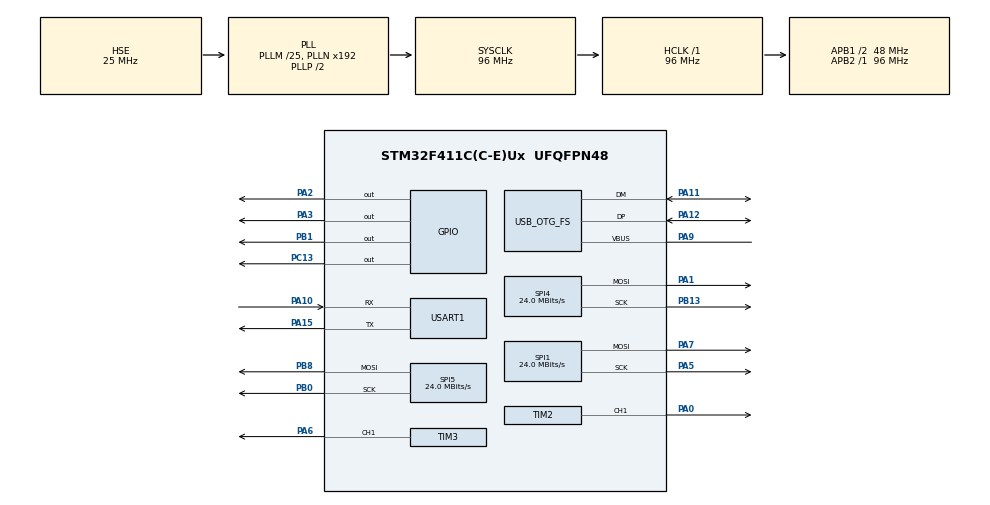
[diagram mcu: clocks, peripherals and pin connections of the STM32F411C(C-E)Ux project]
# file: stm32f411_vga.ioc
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Dma.Request0=TIM1_CH1
Dma.Request1=TIM1_CH2
Dma.Request2=TIM1_CH3
Dma.TIM1_CH1.0.Direction=DMA_MEMORY_TO_PERIPH
Dma.TIM1_CH1.0.FIFOMode=DMA_FIFOMODE_ENABLE
Dma.TIM1_CH1.0.FIFOThreshold=DMA_FIFO_THRESHOLD_FULL
Dma.TIM1_CH1.0.Instance=DMA2_Stream1
Dma.TIM1_CH1.0.MemBurst=DMA_MBURST_INC4
Dma.TIM1_CH1.0.MemDataAlignment=DMA_MDATAALIGN_WORD
Dma.TIM1_CH1.0.MemInc=DMA_MINC_ENABLE
Dma.TIM1_CH1.0.Mode=DMA_NORMAL
Dma.TIM1_CH1.0.PeriphBurst=DMA_PBURST_SINGLE
Dma.TIM1_CH1.0.PeriphDataAlignment=DMA_PDATAALIGN_BYTE
Dma.TIM1_CH1.0.PeriphInc=DMA_PINC_DISABLE
Dma.TIM1_CH1.0.Priority=DMA_PRIORITY_VERY_HIGH
Dma.TIM1_CH2.1.Direction=DMA_MEMORY_TO_PERIPH
Dma.TIM1_CH2.1.FIFOMode=DMA_FIFOMODE_ENABLE
Dma.TIM1_CH2.1.FIFOThreshold=DMA_FIFO_THRESHOLD_FULL
Dma.TIM1_CH2.1.Instance=DMA2_Stream2
Dma.TIM1_CH2.1.MemBurst=DMA_MBURST_INC4
Dma.TIM1_CH2.1.MemDataAlignment=DMA_MDATAALIGN_WORD
Dma.TIM1_CH2.1.MemInc=DMA_MINC_ENABLE
Dma.TIM1_CH2.1.Mode=DMA_NORMAL
Dma.TIM1_CH2.1.PeriphBurst=DMA_PBURST_SINGLE
Dma.TIM1_CH2.1.PeriphDataAlignment=DMA_PDATAALIGN_BYTE
Dma.TIM1_CH2.1.PeriphInc=DMA_PINC_DISABLE
Dma.TIM1_CH2.1.Priority=DMA_PRIORITY_VERY_HIGH
Dma.TIM1_CH3.2.Direction=DMA_MEMORY_TO_PERIPH
Dma.TIM1_CH3.2.FIFOMode=DMA_FIFOMODE_ENABLE
Dma.TIM1_CH3.2.FIFOThreshold=DMA_FIFO_THRESHOLD_FULL
Dma.TIM1_CH3.2.Instance=DMA2_Stream6
Dma.TIM1_CH3.2.MemBurst=DMA_MBURST_INC4
Dma.TIM1_CH3.2.MemDataAlignment=DMA_MDATAALIGN_WORD
Dma.TIM1_CH3.2.MemInc=DMA_MINC_ENABLE
Dma.TIM1_CH3.2.Mode=DMA_NORMAL
Dma.TIM1_CH3.2.PeriphBurst=DMA_PBURST_SINGLE
Dma.TIM1_CH3.2.PeriphDataAlignment=DMA_PDATAALIGN_BYTE
Dma.TIM1_CH3.2.PeriphInc=DMA_PINC_DISABLE
Dma.TIM1_CH3.2.Priority=DMA_PRIORITY_VERY_HIGH
Mcu.Family=STM32F4
Mcu.Name=STM32F411C(C-E)Ux
Mcu.Package=UFQFPN48
NVIC.DMA2_Stream1_IRQn=true\:0\:0\:false\:false\:true\:false\:true\:true
NVIC.DMA2_Stream2_IRQn=true\:0\:0\:false\:false\:true\:false\:true\:true
NVIC.DMA2_Stream6_IRQn=true\:0\:0\:false\:false\:true\:false\:true\:true
NVIC.OTG_FS_IRQn=true\:1\:0\:true\:false\:true\:true\:true\:true
NVIC.PriorityGroup=NVIC_PRIORITYGROUP_4
NVIC.TIM2_IRQn=true\:0\:0\:true\:false\:true\:true\:true\:true
NVIC.TIM3_IRQn=true\:0\:0\:true\:false\:true\:true\:true\:true
NVIC.USART1_IRQn=true\:2\:0\:true\:false\:true\:true\:true\:true
PA0-WKUP.GPIO_Speed=GPIO_SPEED_FREQ_VERY_HIGH
PA0-WKUP.Signal=S_TIM2_CH1_ETR
PA1.GPIO_Mode=GPIO_MODE_AF_PP
PA1.GPIO_PuPd=GPIO_NOPULL
PA1.GPIO_Speed=GPIO_SPEED_FREQ_VERY_HIGH
PA1.Mode=TX_Only_Simplex_Unidirect_Master
PA1.Signal=SPI4_MOSI
PA10.Mode=Asynchronous
PA10.Signal=USART1_RX
PA11.Mode=Host_Only
PA11.Signal=USB_OTG_FS_DM
PA12.Mode=Host_Only
PA12.Signal=USB_OTG_FS_DP
PA15.Mode=Asynchronous
PA15.Signal=USART1_TX
PA2.GPIO_ModeDefaultOutputPP=GPIO_MODE_OUTPUT_PP
PA2.GPIO_PuPd=GPIO_NOPULL
PA2.PinState=GPIO_PIN_RESET
PA2.Signal=GPIO_Output
PA3.Signal=GPIO_Output
PA5.GPIO_Mode=GPIO_MODE_AF_PP
PA5.GPIO_PuPd=GPIO_NOPULL
PA5.GPIO_Speed=GPIO_SPEED_FREQ_VERY_HIGH
PA5.Mode=TX_Only_Simplex_Unidirect_Master
PA5.Signal=SPI1_SCK
PA6.GPIO_Speed=GPIO_SPEED_FREQ_VERY_HIGH
PA6.Signal=S_TIM3_CH1
PA7.GPIO_Mode=GPIO_MODE_AF_PP
PA7.GPIO_PuPd=GPIO_NOPULL
PA7.GPIO_Speed=GPIO_SPEED_FREQ_VERY_HIGH
PA7.Mode=TX_Only_Simplex_Unidirect_Master
PA7.Signal=SPI1_MOSI
PA9.Mode=Activate_VBUS
PA9.Signal=USB_OTG_FS_VBUS
PB0.GPIO_Mode=GPIO_MODE_AF_PP
PB0.GPIO_PuPd=GPIO_NOPULL
PB0.GPIO_Speed=GPIO_SPEED_FREQ_VERY_HIGH
PB0.Mode=TX_Only_Simplex_Unidirect_Master
PB0.Signal=SPI5_SCK
PB1.GPIO_ModeDefaultOutputPP=GPIO_MODE_OUTPUT_PP
PB1.GPIO_PuPd=GPIO_NOPULL
PB1.PinState=GPIO_PIN_RESET
PB1.Signal=GPIO_Output
PB13.GPIO_Mode=GPIO_MODE_AF_PP
PB13.GPIO_PuPd=GPIO_NOPULL
PB13.GPIO_Speed=GPIO_SPEED_FREQ_VERY_HIGH
PB13.Mode=TX_Only_Simplex_Unidirect_Master
PB13.Signal=SPI4_SCK
PB8.GPIO_Mode=GPIO_MODE_AF_PP
PB8.GPIO_PuPd=GPIO_NOPULL
PB8.GPIO_Speed=GPIO_SPEED_FREQ_VERY_HIGH
PB8.Mode=TX_Only_Simplex_Unidirect_Master
PB8.Signal=SPI5_MOSI
PC13-ANTI_TAMP.GPIO_ModeDefaultOutputPP=GPIO_MODE_OUTPUT_PP
PC13-ANTI_TAMP.GPIO_PuPd=GPIO_NOPULL
PC13-ANTI_TAMP.PinState=GPIO_PIN_RESET
PC13-ANTI_TAMP.Signal=GPIO_Output
PH0\ -\ OSC_IN.Mode=HSE-External-Oscillator
PH0\ -\ OSC_IN.Signal=RCC_OSC_IN
PH1\ -\ OSC_OUT.Mode=HSE-External-Oscillator
PH1\ -\ OSC_OUT.Signal=RCC_OSC_OUT
ProjectManager.HeapSize=0x200
ProjectManager.StackSize=0x400
ProjectManager.TargetToolchain=STM32CubeIDE
RCC.48MHZClocksFreq_Value=48000000
RCC.AHBFreq_Value=96000000
RCC.APB1CLKDivider=RCC_HCLK_DIV2
RCC.APB1Freq_Value=48000000
RCC.APB1TimFreq_Value=96000000
RCC.APB2Freq_Value=96000000
RCC.APB2TimFreq_Value=96000000
RCC.CortexFreq_Value=96000000
RCC.HCLKFreq_Value=96000000
RCC.HSE_VALUE=25000000
RCC.HSI_VALUE=16000000
RCC.LSE_VALUE=32768
RCC.PLLM=25
RCC.SYSCLKFreq_VALUE=96000000
RCC.SYSCLKSource=RCC_SYSCLKSOURCE_PLLCLK
RCC.VCOOutputFreq_Value=192000000
SH.S_TIM2_CH1_ETR.0=TIM2_CH1,PWM Generation1 CH1
SH.S_TIM3_CH1.0=TIM3_CH1,PWM Generation1 CH1
SPI1.BaudRatePrescaler=SPI_BAUDRATEPRESCALER_4
SPI1.CalculateBaudRate=24.0 MBits/s
SPI1.Direction=SPI_DIRECTION_2LINES
SPI1.Mode=SPI_MODE_MASTER
SPI1.VirtualType=VM_MASTER
SPI4.BaudRatePrescaler=SPI_BAUDRATEPRESCALER_4
SPI4.CalculateBaudRate=24.0 MBits/s
SPI4.Direction=SPI_DIRECTION_2LINES
SPI4.Mode=SPI_MODE_MASTER
SPI4.VirtualType=VM_MASTER
SPI5.BaudRatePrescaler=SPI_BAUDRATEPRESCALER_4
SPI5.CalculateBaudRate=24.0 MBits/s
SPI5.Direction=SPI_DIRECTION_2LINES
SPI5.Mode=SPI_MODE_MASTER
SPI5.VirtualType=VM_MASTER
TIM1.Channel-PWM\ Generation1\ No\ Output=TIM_CHANNEL_1
TIM1.Channel-PWM\ Generation2\ No\ Output=TIM_CHANNEL_2
TIM1.Channel-PWM\ Generation3\ No\ Output=TIM_CHANNEL_3
TIM1.CounterMode=TIM_COUNTERMODE_UP
TIM1.OCPolarity_1=TIM_OCPOLARITY_LOW
TIM1.OCPolarity_2=TIM_OCPOLARITY_LOW
TIM1.OCPolarity_3=TIM_OCPOLARITY_LOW
TIM1.Period=31
TIM1.Prescaler=0
TIM1.TIM_MasterOutputTrigger=TIM_TRGO_UPDATE
TIM2.Channel-PWM\ Generation1\ CH1=TIM_CHANNEL_1
TIM2.CounterMode=TIM_COUNTERMODE_DOWN
TIM2.OCPolarity_1=TIM_OCPOLARITY_HIGH
TIM2.Period=2752
TIM2.Prescaler=0
TIM2.Pulse-PWM\ Generation1\ CH1=2598
TIM2.TIM_MasterOutputTrigger=TIM_TRGO_OC1REF
TIM2.TIM_MasterSlaveMode=TIM_MASTERSLAVEMODE_DISABLE
TIM3.Channel-PWM\ Generation1\ CH1=TIM_CHANNEL_1
TIM3.Period=3178
TIM3.Pulse-PWM\ Generation1\ CH1=2798
TIM3.TIM_MasterOutputTrigger=TIM_TRGO_UPDATE
USART1.VirtualMode=VM_ASYNC
USB_HOST.BSP.number=1
USB_HOST.USBH_HandleTypeDef=hUsbHostFS
USB_HOST.VirtualModeFS=Hid
USB_HOST0.BSP.STBoard=false
USB_HOST0.BSP.api=Unknown
USB_HOST0.BSP.condition=SW_VBUS_DRIVE_HID_FS \= false
USB_HOST0.BSP.instance=PA3
USB_HOST0.BSP.ip=GPIO
USB_HOST0.BSP.mode=Output
USB_HOST0.BSP.name=Drive_VBUS_FS
USB_HOST0.BSP.solution=PA3
USB_OTG_FS.VirtualMode=Host_Only
USB_OTG_FS.phy_itface=HCD_PHY_EMBEDDED
USB_OTG_FS.speed=HCD_SPEED_LOW
VP_TIM1_VS_ClockSourceINT.Mode=Internal
VP_TIM1_VS_ClockSourceITR.Mode=TriggerSource_ITR1
VP_TIM1_VS_ControllerModeGated.Mode=Gated Mode
VP_TIM1_VS_no_output1.Mode=PWM Generation1 No Output
VP_TIM1_VS_no_output2.Mode=PWM Generation2 No Output
VP_TIM1_VS_no_output3.Mode=PWM Generation3 No Output
VP_TIM2_VS_ClockSourceINT.Mode=Internal
VP_TIM2_VS_ClockSourceITR.Mode=TriggerSource_ITR2
VP_TIM2_VS_ControllerModeTrigger.Mode=Trigger Mode
VP_TIM2_VS_OPM.Mode=OPM_bit
VP_TIM3_VS_ClockSourceINT.Mode=Internal
VP_USB_HOST_VS_USB_HOST_HID_FS.Mode=HID_FS
board=custom

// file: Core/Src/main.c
/* USER CODE BEGIN Header */
/**
  ******************************************************************************
  * @file           : main.c
  * @brief          : Main program body
  ******************************************************************************
  * @attention
  *
  * Copyright (c) 2026 STMicroelectronics.
  * All rights reserved.
  *
  * This software is licensed under terms that can be found in the LICENSE file
  * in the root directory of this software component.
  * If no LICENSE file comes with this software, it is provided AS-IS.
  *
  ******************************************************************************
  */
/* USER CODE END Header */
#include "main.h"
#include "usb_host.h"

/* USER CODE BEGIN Includes */
#include <stdio.h>
#include <string.h>
#include "usbh_hid.h"
#include "usbh_hid_keybd.h"
#include "usbh_core.h"
#include "usbh_hid_keybd.h"
/* USER CODE END Includes */

SPI_HandleTypeDef hspi1;
SPI_HandleTypeDef hspi4;
SPI_HandleTypeDef hspi5;

TIM_HandleTypeDef htim1;
TIM_HandleTypeDef htim2;
TIM_HandleTypeDef htim3;
DMA_HandleTypeDef hdma_tim1_ch1;
DMA_HandleTypeDef hdma_tim1_ch2;
DMA_HandleTypeDef hdma_tim1_ch3;

UART_HandleTypeDef huart1;

void SystemClock_Config(void);
static void MX_GPIO_Init(void);
static void MX_DMA_Init(void);
static void MX_SPI1_Init(void);
static void MX_TIM1_Init(void);
static void MX_TIM2_Init(void);
static void MX_SPI4_Init(void);
static void MX_SPI5_Init(void);
static void MX_TIM3_Init(void);
static void MX_USART1_UART_Init(void);
void MX_USB_HOST_Process(void);

/* USER CODE BEGIN 0 */
extern USBH_HandleTypeDef hUsbHostFS;
extern void MX_USB_HOST_Process(void);
extern void basic();
extern void put_ch();
extern void clr_vram();
extern void test_vga();
extern void putch();
extern void DrawChar();
extern void DrawStr();
extern void DrawLine();
extern void DrawRect();
extern void FillRect();
extern void DrawCircle();
extern void FillCircle();
extern void FillCircle();
//char usb_key;

int wct = 0;
void wloop(int dly){
	HAL_Delay(dly);
    MX_USB_HOST_Process();
	if(wct++>(200/dly)){
		wct=0;
		HAL_GPIO_TogglePin(GPIOC, GPIO_PIN_13); // PC13(LED)への出力を反転
	}
}
// USB HID Usage Tables(basicの為に少し弄ってる)
const uint8_t hid_to_ascii_us[] = {
    0, 0, 0, 0, 'a', 'b', 'c', 'd', 'e', 'f', 'g', 'h', 'i', 'j', 'k', 'l',
    'm', 'n', 'o', 'p', 'q', 'r', 's', 't', 'u', 'v', 'w', 'x', 'y', 'z',
    '1', '2', '3', '4', '5', '6', '7', '8', '9', '0', '\r', 0x1B, '\b', '\t',
    ' ', '-', '^', '[', ']', '\\', 0, ';', ':', '`', ',', '.', '/'
};
// シフトが押された場合のテーブル
const uint8_t hid_to_ascii_us_shift[] = {
    0, 0, 0, 0, 'A', 'B', 'C', 'D', 'E', 'F', 'G', 'H', 'I', 'J', 'K', 'L',
    'M', 'N', 'O', 'P', 'Q', 'R', 'S', 'T', 'U', 'V', 'W', 'X', 'Y', 'Z',
    '!', '"', '#', '$', '%', '&', '\'', '(', ')', ')', '\r', 0x1B, '\b', '\t',
    ' ', '=', '~', '{', '}', '|', 0, '+', '"', '~', '<', '>', '?'
};

char HID_To_ASCII(uint8_t scancode, uint8_t shift) {
    if (scancode >= sizeof(hid_to_ascii_us)) return 0; // 範囲外
    if (shift) { return hid_to_ascii_us_shift[scancode];}
    else       { return hid_to_ascii_us[scancode]; }
}

// キーボードのレポート構造体（定義されていない場合）
typedef struct _HID_KEYBD_Info{
  uint8_t modifier;
  uint8_t reserved;
  uint8_t keys[6];
} HID_KEYBD_Info_Typedef;
extern USBH_HandleTypeDef hUsbHostFS;
// HID コールバック関数
void USBH_HID_EventCallback(USBH_HandleTypeDef *phost){
    //HID_HandleTypeDef *HID_Handle = (HID_HandleTypeDef *) phost->pActiveClass->pData;
    HID_KEYBD_Info_TypeDef *kbd_info;
    // デバイスがキーボードか確認
    if (USBH_HID_GetDeviceType(phost) == HID_KEYBOARD) {
        kbd_info = USBH_HID_GetKeybdInfo(phost);	// データをキーボード構造体にキャスト
        if (kbd_info != NULL) {
            // キーボードのキー押下データ(kbd_info->keys[0...5])を利用
        	uint8_t key = kbd_info->keys[0]; // 押されたキー
        	uint8_t shift = kbd_info->lshift || kbd_info->rshift;
        	uint8_t ctrl = kbd_info->lctrl || kbd_info->rctrl;
        	uint8_t asch = HID_To_ASCII(key, shift);
        	if(ctrl==1) asch = asch & 0x1f;
        	put_ch(asch);
        }
    }
}

void put_serial(char ch){
	uint8_t txdt;
	txdt = ch;
	HAL_UART_Transmit(&huart1, &txdt, 1, 10);
}
uint8_t rx_data;
void HAL_UART_RxCpltCallback(UART_HandleTypeDef *huart)
{
    if (huart->Instance == USART1) {
    	put_ch(rx_data);
        //HAL_UART_Transmit(&huart1, &rx_data, 1, 10);	// 1バイト送信（エコーバック）
        HAL_UART_Receive_IT(&huart1, &rx_data, 1);		// 次の1バイト受信のために再度割り込みを有効にする
    }
}
/* USER CODE END 0 */

int main(void)
{

  /* MCU Configuration--------------------------------------------------------*/

  /* Reset of all peripherals, Initializes the Flash interface and the Systick. */
  HAL_Init();

  /* Configure the system clock */
  SystemClock_Config();

  /* Initialize all configured peripherals */
  MX_GPIO_Init();
  MX_DMA_Init();
  MX_SPI1_Init();
  MX_TIM1_Init();
  MX_TIM2_Init();
  MX_SPI4_Init();
  MX_SPI5_Init();
  MX_TIM3_Init();
  MX_USB_HOST_Init();
  MX_USART1_UART_Init();

  /* Infinite loop */
  /* USER CODE BEGIN WHILE */

  // SPIを有効化
  __HAL_SPI_ENABLE(&hspi1);	// (PA7)
  __HAL_SPI_ENABLE(&hspi4);	// (PA1)
  __HAL_SPI_ENABLE(&hspi5);	// (PB8)
  // タイマースタート
  HAL_TIM_PWM_Start(&htim1, TIM_CHANNEL_1);		// (PA8)
  HAL_TIM_PWM_Start(&htim1, TIM_CHANNEL_2);		// (PA9)
  HAL_TIM_PWM_Start(&htim1, TIM_CHANNEL_3);		// (PA10)
  HAL_TIM_PWM_Start(&htim2, TIM_CHANNEL_1);		// T1Gate(PA0)
  HAL_TIM_PWM_Start_IT(&htim2, TIM_CHANNEL_2);	// (PB3)
  HAL_TIM_PWM_Start(&htim3, TIM_CHANNEL_1);		// Hsync(PA6)
  // Hsyncより作成									// Vsync(PB1)

  // シリアル初期化(１バイト受信で割り込み発生) TX:(PA15) RX:(PA10)
  HAL_UART_Receive_IT(&huart1, &rx_data, 1);

  clr_vram();
  test_vga();	// 不用なら消す

  while (1)
  {
	  //basic();			// basicを呼びだす、wloopは不用
	  wloop(1);		// 1ms待ち、LED PC13を点滅
    /* USER CODE END WHILE */
    MX_USB_HOST_Process();

  }
}

void SystemClock_Config(void)
{
  RCC_OscInitTypeDef RCC_OscInitStruct = {0};
  RCC_ClkInitTypeDef RCC_ClkInitStruct = {0};

  /** Configure the main internal regulator output voltage
  */
  __HAL_RCC_PWR_CLK_ENABLE();
  __HAL_PWR_VOLTAGESCALING_CONFIG(PWR_REGULATOR_VOLTAGE_SCALE1);

  /** Initializes the RCC Oscillators according to the specified parameters
  * in the RCC_OscInitTypeDef structure.
  */
  RCC_OscInitStruct.OscillatorType = RCC_OSCILLATORTYPE_HSE;
  RCC_OscInitStruct.HSEState = RCC_HSE_ON;
  RCC_OscInitStruct.PLL.PLLState = RCC_PLL_ON;
  RCC_OscInitStruct.PLL.PLLSource = RCC_PLLSOURCE_HSE;
  RCC_OscInitStruct.PLL.PLLM = 25;
  RCC_OscInitStruct.PLL.PLLN = 192;
  RCC_OscInitStruct.PLL.PLLP = RCC_PLLP_DIV2;
  RCC_OscInitStruct.PLL.PLLQ = 4;
  if (HAL_RCC_OscConfig(&RCC_OscInitStruct) != HAL_OK)
  {
    Error_Handler();
  }

  /** Initializes the CPU, AHB and APB buses clocks
  */
  RCC_ClkInitStruct.ClockType = RCC_CLOCKTYPE_HCLK|RCC_CLOCKTYPE_SYSCLK
                              |RCC_CLOCKTYPE_PCLK1|RCC_CLOCKTYPE_PCLK2;
  RCC_ClkInitStruct.SYSCLKSource = RCC_SYSCLKSOURCE_PLLCLK;
  RCC_ClkInitStruct.AHBCLKDivider = RCC_SYSCLK_DIV1;
  RCC_ClkInitStruct.APB1CLKDivider = RCC_HCLK_DIV2;
  RCC_ClkInitStruct.APB2CLKDivider = RCC_HCLK_DIV1;

  if (HAL_RCC_ClockConfig(&RCC_ClkInitStruct, FLASH_LATENCY_3) != HAL_OK)
  {
    Error_Handler();
  }
}

static void MX_SPI1_Init(void)
{

  /* SPI1 parameter configuration*/
  hspi1.Instance = SPI1;
  hspi1.Init.Mode = SPI_MODE_MASTER;
  hspi1.Init.Direction = SPI_DIRECTION_2LINES;
  hspi1.Init.DataSize = SPI_DATASIZE_8BIT;
  hspi1.Init.CLKPolarity = SPI_POLARITY_LOW;
  hspi1.Init.CLKPhase = SPI_PHASE_1EDGE;
  hspi1.Init.NSS = SPI_NSS_SOFT;
  hspi1.Init.BaudRatePrescaler = SPI_BAUDRATEPRESCALER_4;
  hspi1.Init.FirstBit = SPI_FIRSTBIT_MSB;
  hspi1.Init.TIMode = SPI_TIMODE_DISABLE;
  hspi1.Init.CRCCalculation = SPI_CRCCALCULATION_DISABLE;
  hspi1.Init.CRCPolynomial = 10;
  if (HAL_SPI_Init(&hspi1) != HAL_OK)
  {
    Error_Handler();
  }

}

static void MX_SPI4_Init(void)
{

  /* SPI4 parameter configuration*/
  hspi4.Instance = SPI4;
  hspi4.Init.Mode = SPI_MODE_MASTER;
  hspi4.Init.Direction = SPI_DIRECTION_2LINES;
  hspi4.Init.DataSize = SPI_DATASIZE_8BIT;
  hspi4.Init.CLKPolarity = SPI_POLARITY_LOW;
  hspi4.Init.CLKPhase = SPI_PHASE_1EDGE;
  hspi4.Init.NSS = SPI_NSS_SOFT;
  hspi4.Init.BaudRatePrescaler = SPI_BAUDRATEPRESCALER_4;
  hspi4.Init.FirstBit = SPI_FIRSTBIT_MSB;
  hspi4.Init.TIMode = SPI_TIMODE_DISABLE;
  hspi4.Init.CRCCalculation = SPI_CRCCALCULATION_DISABLE;
  hspi4.Init.CRCPolynomial = 10;
  if (HAL_SPI_Init(&hspi4) != HAL_OK)
  {
    Error_Handler();
  }

}

static void MX_SPI5_Init(void)
{

  /* SPI5 parameter configuration*/
  hspi5.Instance = SPI5;
  hspi5.Init.Mode = SPI_MODE_MASTER;
  hspi5.Init.Direction = SPI_DIRECTION_2LINES;
  hspi5.Init.DataSize = SPI_DATASIZE_8BIT;
  hspi5.Init.CLKPolarity = SPI_POLARITY_LOW;
  hspi5.Init.CLKPhase = SPI_PHASE_1EDGE;
  hspi5.Init.NSS = SPI_NSS_SOFT;
  hspi5.Init.BaudRatePrescaler = SPI_BAUDRATEPRESCALER_4;
  hspi5.Init.FirstBit = SPI_FIRSTBIT_MSB;
  hspi5.Init.TIMode = SPI_TIMODE_DISABLE;
  hspi5.Init.CRCCalculation = SPI_CRCCALCULATION_DISABLE;
  hspi5.Init.CRCPolynomial = 10;
  if (HAL_SPI_Init(&hspi5) != HAL_OK)
  {
    Error_Handler();
  }

}

static void MX_TIM1_Init(void)
{

  TIM_ClockConfigTypeDef sClockSourceConfig = {0};
  TIM_SlaveConfigTypeDef sSlaveConfig = {0};
  TIM_MasterConfigTypeDef sMasterConfig = {0};
  TIM_OC_InitTypeDef sConfigOC = {0};
  TIM_BreakDeadTimeConfigTypeDef sBreakDeadTimeConfig = {0};

  htim1.Instance = TIM1;
  htim1.Init.Prescaler = 0;
  htim1.Init.CounterMode = TIM_COUNTERMODE_UP;
  htim1.Init.Period = 31;
  htim1.Init.ClockDivision = TIM_CLOCKDIVISION_DIV1;
  htim1.Init.RepetitionCounter = 0;
  htim1.Init.AutoReloadPreload = TIM_AUTORELOAD_PRELOAD_DISABLE;
  if (HAL_TIM_Base_Init(&htim1) != HAL_OK)
  {
    Error_Handler();
  }
  sClockSourceConfig.ClockSource = TIM_CLOCKSOURCE_INTERNAL;
  if (HAL_TIM_ConfigClockSource(&htim1, &sClockSourceConfig) != HAL_OK)
  {
    Error_Handler();
  }
  if (HAL_TIM_PWM_Init(&htim1) != HAL_OK)
  {
    Error_Handler();
  }
  sSlaveConfig.SlaveMode = TIM_SLAVEMODE_GATED;
  sSlaveConfig.InputTrigger = TIM_TS_ITR1;
  if (HAL_TIM_SlaveConfigSynchro(&htim1, &sSlaveConfig) != HAL_OK)
  {
    Error_Handler();
  }
  sMasterConfig.MasterOutputTrigger = TIM_TRGO_UPDATE;
  sMasterConfig.MasterSlaveMode = TIM_MASTERSLAVEMODE_DISABLE;
  if (HAL_TIMEx_MasterConfigSynchronization(&htim1, &sMasterConfig) != HAL_OK)
  {
    Error_Handler();
  }
  sConfigOC.OCMode = TIM_OCMODE_PWM1;
  sConfigOC.Pulse = 0;
  sConfigOC.OCPolarity = TIM_OCPOLARITY_LOW;
  sConfigOC.OCNPolarity = TIM_OCNPOLARITY_HIGH;
  sConfigOC.OCFastMode = TIM_OCFAST_DISABLE;
  sConfigOC.OCIdleState = TIM_OCIDLESTATE_RESET;
  sConfigOC.OCNIdleState = TIM_OCNIDLESTATE_RESET;
  if (HAL_TIM_PWM_ConfigChannel(&htim1, &sConfigOC, TIM_CHANNEL_1) != HAL_OK)
  {
    Error_Handler();
  }
  if (HAL_TIM_PWM_ConfigChannel(&htim1, &sConfigOC, TIM_CHANNEL_2) != HAL_OK)
  {
    Error_Handler();
  }
  if (HAL_TIM_PWM_ConfigChannel(&htim1, &sConfigOC, TIM_CHANNEL_3) != HAL_OK)
  {
    Error_Handler();
  }
  sBreakDeadTimeConfig.OffStateRunMode = TIM_OSSR_DISABLE;
  sBreakDeadTimeConfig.OffStateIDLEMode = TIM_OSSI_DISABLE;
  sBreakDeadTimeConfig.LockLevel = TIM_LOCKLEVEL_OFF;
  sBreakDeadTimeConfig.DeadTime = 0;
  sBreakDeadTimeConfig.BreakState = TIM_BREAK_DISABLE;
  sBreakDeadTimeConfig.BreakPolarity = TIM_BREAKPOLARITY_HIGH;
  sBreakDeadTimeConfig.AutomaticOutput = TIM_AUTOMATICOUTPUT_DISABLE;
  if (HAL_TIMEx_ConfigBreakDeadTime(&htim1, &sBreakDeadTimeConfig) != HAL_OK)
  {
    Error_Handler();
  }

}

static void MX_TIM2_Init(void)
{

  TIM_ClockConfigTypeDef sClockSourceConfig = {0};
  TIM_SlaveConfigTypeDef sSlaveConfig = {0};
  TIM_MasterConfigTypeDef sMasterConfig = {0};
  TIM_OC_InitTypeDef sConfigOC = {0};

  htim2.Instance = TIM2;
  htim2.Init.Prescaler = 0;
  htim2.Init.CounterMode = TIM_COUNTERMODE_DOWN;
  htim2.Init.Period = 2752;
  htim2.Init.ClockDivision = TIM_CLOCKDIVISION_DIV1;
  htim2.Init.AutoReloadPreload = TIM_AUTORELOAD_PRELOAD_DISABLE;
  if (HAL_TIM_Base_Init(&htim2) != HAL_OK)
  {
    Error_Handler();
  }
  sClockSourceConfig.ClockSource = TIM_CLOCKSOURCE_INTERNAL;
  if (HAL_TIM_ConfigClockSource(&htim2, &sClockSourceConfig) != HAL_OK)
  {
    Error_Handler();
  }
  if (HAL_TIM_PWM_Init(&htim2) != HAL_OK)
  {
    Error_Handler();
  }
  if (HAL_TIM_OnePulse_Init(&htim2, TIM_OPMODE_SINGLE) != HAL_OK)
  {
    Error_Handler();
  }
  sSlaveConfig.SlaveMode = TIM_SLAVEMODE_TRIGGER;
  sSlaveConfig.InputTrigger = TIM_TS_ITR2;
  if (HAL_TIM_SlaveConfigSynchro(&htim2, &sSlaveConfig) != HAL_OK)
  {
    Error_Handler();
  }
  sMasterConfig.MasterOutputTrigger = TIM_TRGO_OC1REF;
  sMasterConfig.MasterSlaveMode = TIM_MASTERSLAVEMODE_DISABLE;
  if (HAL_TIMEx_MasterConfigSynchronization(&htim2, &sMasterConfig) != HAL_OK)
  {
    Error_Handler();
  }
  sConfigOC.OCMode = TIM_OCMODE_PWM1;
  sConfigOC.Pulse = 2598;
  sConfigOC.OCPolarity = TIM_OCPOLARITY_HIGH;
  sConfigOC.OCFastMode = TIM_OCFAST_DISABLE;
  if (HAL_TIM_PWM_ConfigChannel(&htim2, &sConfigOC, TIM_CHANNEL_1) != HAL_OK)
  {
    Error_Handler();
  }
  HAL_TIM_MspPostInit(&htim2);

}

static void MX_TIM3_Init(void)
{

  TIM_ClockConfigTypeDef sClockSourceConfig = {0};
  TIM_MasterConfigTypeDef sMasterConfig = {0};
  TIM_OC_InitTypeDef sConfigOC = {0};

  htim3.Instance = TIM3;
  htim3.Init.Prescaler = 0;
  htim3.Init.CounterMode = TIM_COUNTERMODE_UP;
  htim3.Init.Period = 3178;
  htim3.Init.ClockDivision = TIM_CLOCKDIVISION_DIV1;
  htim3.Init.AutoReloadPreload = TIM_AUTORELOAD_PRELOAD_DISABLE;
  if (HAL_TIM_Base_Init(&htim3) != HAL_OK)
  {
    Error_Handler();
  }
  sClockSourceConfig.ClockSource = TIM_CLOCKSOURCE_INTERNAL;
  if (HAL_TIM_ConfigClockSource(&htim3, &sClockSourceConfig) != HAL_OK)
  {
    Error_Handler();
  }
  if (HAL_TIM_PWM_Init(&htim3) != HAL_OK)
  {
    Error_Handler();
  }
  sMasterConfig.MasterOutputTrigger = TIM_TRGO_UPDATE;
  sMasterConfig.MasterSlaveMode = TIM_MASTERSLAVEMODE_DISABLE;
  if (HAL_TIMEx_MasterConfigSynchronization(&htim3, &sMasterConfig) != HAL_OK)
  {
    Error_Handler();
  }
  sConfigOC.OCMode = TIM_OCMODE_PWM1;
  sConfigOC.Pulse = 2798;
  sConfigOC.OCPolarity = TIM_OCPOLARITY_HIGH;
  sConfigOC.OCFastMode = TIM_OCFAST_DISABLE;
  if (HAL_TIM_PWM_ConfigChannel(&htim3, &sConfigOC, TIM_CHANNEL_1) != HAL_OK)
  {
    Error_Handler();
  }
  HAL_TIM_MspPostInit(&htim3);

}

static void MX_USART1_UART_Init(void)
{

  huart1.Instance = USART1;
  huart1.Init.BaudRate = 115200;
  huart1.Init.WordLength = UART_WORDLENGTH_8B;
  huart1.Init.StopBits = UART_STOPBITS_1;
  huart1.Init.Parity = UART_PARITY_NONE;
  huart1.Init.Mode = UART_MODE_TX_RX;
  huart1.Init.HwFlowCtl = UART_HWCONTROL_NONE;
  huart1.Init.OverSampling = UART_OVERSAMPLING_16;
  if (HAL_UART_Init(&huart1) != HAL_OK)
  {
    Error_Handler();
  }

}

static void MX_DMA_Init(void)
{

  /* DMA controller clock enable */
  __HAL_RCC_DMA2_CLK_ENABLE();

  /* DMA interrupt init */
  /* DMA2_Stream1_IRQn interrupt configuration */
  HAL_NVIC_SetPriority(DMA2_Stream1_IRQn, 0, 0);
  HAL_NVIC_EnableIRQ(DMA2_Stream1_IRQn);
  /* DMA2_Stream2_IRQn interrupt configuration */
  HAL_NVIC_SetPriority(DMA2_Stream2_IRQn, 0, 0);
  HAL_NVIC_EnableIRQ(DMA2_Stream2_IRQn);
  /* DMA2_Stream6_IRQn interrupt configuration */
  HAL_NVIC_SetPriority(DMA2_Stream6_IRQn, 0, 0);
  HAL_NVIC_EnableIRQ(DMA2_Stream6_IRQn);

}

static void MX_GPIO_Init(void)
{
  GPIO_InitTypeDef GPIO_InitStruct = {0};

  /* GPIO Ports Clock Enable */
  __HAL_RCC_GPIOC_CLK_ENABLE();
  __HAL_RCC_GPIOH_CLK_ENABLE();
  __HAL_RCC_GPIOA_CLK_ENABLE();
  __HAL_RCC_GPIOB_CLK_ENABLE();

  /*Configure GPIO pin Output Level */
  HAL_GPIO_WritePin(GPIOC, GPIO_PIN_13, GPIO_PIN_RESET);

  /*Configure GPIO pin Output Level */
  HAL_GPIO_WritePin(GPIOA, GPIO_PIN_2|GPIO_PIN_3, GPIO_PIN_RESET);

  /*Configure GPIO pin Output Level */
  HAL_GPIO_WritePin(GPIOB, GPIO_PIN_1, GPIO_PIN_RESET);

  /*Configure GPIO pin : PC13 */
  GPIO_InitStruct.Pin = GPIO_PIN_13;
  GPIO_InitStruct.Mode = GPIO_MODE_OUTPUT_PP;
  GPIO_InitStruct.Pull = GPIO_NOPULL;
  GPIO_InitStruct.Speed = GPIO_SPEED_FREQ_LOW;
  HAL_GPIO_Init(GPIOC, &GPIO_InitStruct);

  /*Configure GPIO pins : PA2 PA3 */
  GPIO_InitStruct.Pin = GPIO_PIN_2|GPIO_PIN_3;
  GPIO_InitStruct.Mode = GPIO_MODE_OUTPUT_PP;
  GPIO_InitStruct.Pull = GPIO_NOPULL;
  GPIO_InitStruct.Speed = GPIO_SPEED_FREQ_LOW;
  HAL_GPIO_Init(GPIOA, &GPIO_InitStruct);

  /*Configure GPIO pin : PB1 */
  GPIO_InitStruct.Pin = GPIO_PIN_1;
  GPIO_InitStruct.Mode = GPIO_MODE_OUTPUT_PP;
  GPIO_InitStruct.Pull = GPIO_NOPULL;
  GPIO_InitStruct.Speed = GPIO_SPEED_FREQ_LOW;
  HAL_GPIO_Init(GPIOB, &GPIO_InitStruct);

}

void Error_Handler(void)
{
  __disable_irq();
  while (1)
  {
  }
}
